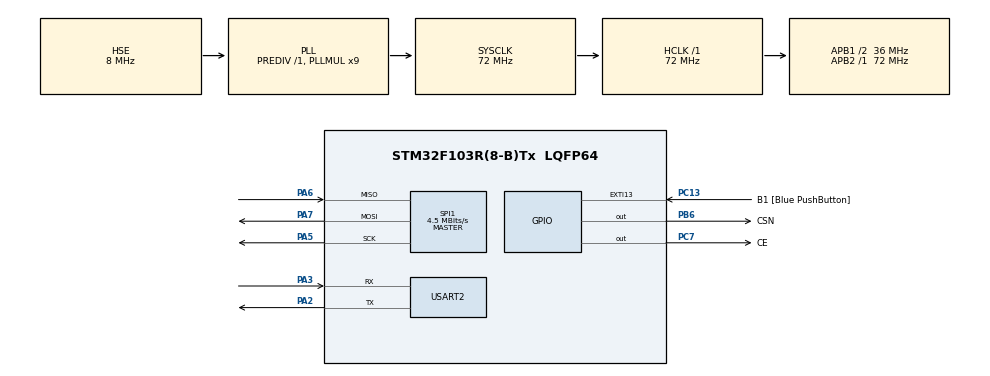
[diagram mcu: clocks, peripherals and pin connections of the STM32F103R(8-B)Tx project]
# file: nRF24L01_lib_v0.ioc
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Mcu.Family=STM32F1
Mcu.Name=STM32F103R(8-B)Tx
Mcu.Package=LQFP64
NVIC.EXTI15_10_IRQn=true\:0\:0\:false\:false\:true\:true\:true
NVIC.PriorityGroup=NVIC_PRIORITYGROUP_4
PA13.GPIO_Label=TMS
PA13.Mode=Serial_Wire
PA13.Signal=SYS_JTMS-SWDIO
PA14.GPIO_Label=TCK
PA14.Mode=Serial_Wire
PA14.Signal=SYS_JTCK-SWCLK
PA2.Mode=Asynchronous
PA2.Signal=USART2_TX
PA3.Mode=Asynchronous
PA3.Signal=USART2_RX
PA5.Mode=Full_Duplex_Master
PA5.Signal=SPI1_SCK
PA6.Mode=Full_Duplex_Master
PA6.Signal=SPI1_MISO
PA7.Mode=Full_Duplex_Master
PA7.Signal=SPI1_MOSI
PB3.GPIO_Label=SWO
PB3.Signal=SYS_JTDO-TRACESWO
PB6.GPIO_Label=CSN
PB6.Signal=GPIO_Output
PC13-TAMPER-RTC.GPIO_Label=B1 [Blue PushButton]
PC13-TAMPER-RTC.GPIO_PuPd=GPIO_NOPULL
PC13-TAMPER-RTC.Signal=GPXTI13
PC14-OSC32_IN.Mode=LSE-External-Oscillator
PC14-OSC32_IN.Signal=RCC_OSC32_IN
PC15-OSC32_OUT.Mode=LSE-External-Oscillator
PC15-OSC32_OUT.Signal=RCC_OSC32_OUT
PC7.GPIO_Label=CE
PC7.Signal=GPIO_Output
PD0-OSC_IN.Mode=HSE-External-Clock-Source
PD0-OSC_IN.Signal=RCC_OSC_IN
PD1-OSC_OUT.Mode=HSE-External-Clock-Source
PD1-OSC_OUT.Signal=RCC_OSC_OUT
ProjectManager.HeapSize=0x200
ProjectManager.StackSize=0x400
ProjectManager.TargetToolchain=STM32CubeIDE
RCC.AHBFreq_Value=72000000
RCC.APB1CLKDivider=RCC_HCLK_DIV2
RCC.APB1Freq_Value=36000000
RCC.APB1TimFreq_Value=72000000
RCC.APB2Freq_Value=72000000
RCC.APB2TimFreq_Value=72000000
RCC.HCLKFreq_Value=72000000
RCC.PLLMUL=RCC_PLL_MUL9
RCC.PLLSourceVirtual=RCC_PLLSOURCE_HSE
RCC.RTCClockSelection=RCC_RTCCLKSOURCE_LSE
RCC.SYSCLKFreq_VALUE=72000000
RCC.SYSCLKSource=RCC_SYSCLKSOURCE_PLLCLK
RCC.USBFreq_Value=72000000
SPI1.BaudRatePrescaler=SPI_BAUDRATEPRESCALER_16
SPI1.CalculateBaudRate=4.5 MBits/s
SPI1.Direction=SPI_DIRECTION_2LINES
SPI1.Mode=SPI_MODE_MASTER
SPI1.VirtualType=VM_MASTER
TIM1.AutoReloadPreload=TIM_AUTORELOAD_PRELOAD_ENABLE
TIM1.Period=0xFFFE
TIM1.Prescaler=71
USART2.VirtualMode=VM_ASYNC
VP_TIM1_VS_ClockSourceINT.Mode=Internal
board=NUCLEO-F103RB

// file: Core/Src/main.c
/* USER CODE BEGIN Header */
/**
 ******************************************************************************
 * @file           : main.c
 * @brief          : Main program body
 ******************************************************************************
 * @attention
 *
 * <h2><center>&copy; Copyright (c) 2020 STMicroelectronics.
 * All rights reserved.</center></h2>
 *
 * This software component is licensed by ST under BSD 3-Clause license,
 * the "License"; You may not use this file except in compliance with the
 * License. You may obtain a copy of the License at:
 *                        opensource.org/licenses/BSD-3-Clause
 *
 ******************************************************************************
 */
/* USER CODE END Header */

#include "main.h"
#include "spi.h"
#include "tim.h"
#include "usart.h"
#include "gpio.h"
/* USER CODE BEGIN Includes */
#include <string.h>
#include <stdio.h>
#include "nRF24L01.h"
/* USER CODE END Includes */

/* USER CODE BEGIN PD */
#define TEST_CONFIG 1
#define TEST_STATIC_LENGTH 1
#define TEST_DYNAMIC_LENGTH 1
#define	TEST_ACK_PAYLOAD 1

#define TEST_RECEIVE 1

#define TAB_SIZE 5
#define BUF_SIZE 32
/* USER CODE END PD */

/* USER CODE BEGIN PV */
uint8_t counter = 0;
uint8_t regTmp = 0;
uint8_t tmp = 0;
uint8_t j;

uint8_t rxFifoStatus = 0;
uint8_t txFifoStatus = 0;

uint8_t TransmitAddress[TAB_SIZE] = { 'A', 'B', 'A', 'B', 'A' };
uint8_t ReceiveAddress[TAB_SIZE] = { 'A', 'B', 'A', 'B', 'A' };

uint8_t ReceiveData[BUF_SIZE];
uint8_t TransmitData[BUF_SIZE];

const uint8_t pipe0 = 0;

#if TEST_DYNAMIC_LENGTH
static uint8_t rxPayloadWidthPipe0 = 0;
#endif

#if TEST_ACK_PAYLOAD
static uint8_t txPayloadWidthPipe0 = 0;
#endif

/* USER CODE END PV */

void SystemClock_Config(void);

/* USER CODE BEGIN 0 */
void sendString(char *str, UART_HandleTypeDef *husart);
/* USER CODE END 0 */

int main(void)
{

  /* MCU Configuration--------------------------------------------------------*/

  /* Reset of all peripherals, Initializes the Flash interface and the Systick. */
  HAL_Init();

  /* Configure the system clock */
  SystemClock_Config();

  /* Initialize all configured peripherals */
  MX_GPIO_Init();
  MX_SPI1_Init();
  MX_TIM1_Init();
  MX_USART2_UART_Init();
  /* USER CODE BEGIN 2 */
	HAL_TIM_Base_Start(&htim1);
  /* USER CODE END 2 */
  /* Infinite loop */
  /* USER CODE BEGIN WHILE */
#if  TEST_CONFIG
	/* 0. Create pointer and init structure. */
	sendString("nRF24L01+ struct init\r\n", &huart2);
	nrfStruct_t *testStruct;						// create pointer to struct
	testStruct = nRF_Init(&hspi1, &htim1, CSN_GPIO_Port, CSN_Pin, CE_GPIO_Port,
	CE_Pin);	// create struct
	sendString("nRF24L01+ struct init done\r\nStart init config\r\n", &huart2);
	/* 1.1  Set role as RX */
	modeRX(testStruct);
	/* 1.2 Enable CRC and set coding */
	enableCRC(testStruct);
	setCRC(testStruct, CRC_16_bits);
	/* 1.3 Enable/disable interrupts */
	enableRXinterrupt(testStruct);
	enableTXinterrupt(testStruct);
	/* 2. Set ACK for RX pipe  */
	enableAutoAckPipe(testStruct, pipe0);
	/* 3. Set RX pipe */
	enableRxAddr(testStruct, pipe0);
	/* 4. Set RX/TX address width */
	setAddrWidth(testStruct, longWidth);
	/* 5. Set ARD and ARC */
	setAutoRetrCount(testStruct, 4);
	setAutoRetrDelay(testStruct, 5); //
	/* 6. Set RF channel */
	setChannel(testStruct, 2);
	/* 7. Set RF power and Data Rate */
	setRFpower(testStruct, RF_PWR_6dBm);
	setDataRate(testStruct, RF_DataRate_250);
	/* 8 Set RX address */
	setReceivePipeAddress(testStruct, pipe0, ReceiveAddress,
			sizeof(ReceiveAddress));
	/* 9. Set TX address */
	setTransmitPipeAddress(testStruct, TransmitAddress,
			sizeof(TransmitAddress));
#if TEST_STATIC_LENGTH
	setRxPayloadWidth(testStruct, pipe0, BUF_SIZE);
	sendString("nRF24L01+ init done\r\n", &huart2);
#endif
#if TEST_DYNAMIC_LENGTH
	enableDynamicPayloadLength(testStruct);
	enableDynamicPayloadLengthPipe(testStruct, pipe0);
#endif
#if TEST_ACK_PAYLOAD
	enableAckPayload(testStruct);
	writeTxPayloadAck(testStruct, TransmitData, sizeof(TransmitData));
#endif
#endif

	while (1) {
#if TEST_DYNAMIC_LENGTH
		HAL_Delay(0);
		if (checkReceivedPayload(testStruct, pipe0) == 1) {
			rxPayloadWidthPipe0 = readDynamicPayloadWidth(testStruct);
			/*
			rxFifoStatus = getRX_DR(testStruct);
			sendString("\r\nRX_DR BEFORE read: ", &huart2);
			tmp = rxFifoStatus + 48;
			HAL_UART_Transmit(&huart2, &tmp, 1, 10);
			 */
			readRxPayload(testStruct, ReceiveData, rxPayloadWidthPipe0);

			sendString("\r\nPayload read: \r\n", &huart2);
			sendString((char*) ReceiveData, &huart2);
			/*
			rxFifoStatus = getRX_DR(testStruct);
			sendString(" \r\nRX_DR AFTER read: ", &huart2);
			tmp = rxFifoStatus + 48;
			HAL_UART_Transmit(&huart2, &tmp, 1, 10);
			 sendString("\r\n", &huart2);
			 */
#if TEST_ACK_PAYLOAD
			/* prepare data to send */
			counter++;
			if (counter == 32)
				counter = 0;

			for (j = 0; j < BUF_SIZE; j++) {
				ReceiveData[j] = 0;
			}

			for (j = 0; j < BUF_SIZE; j++) {
				TransmitData[j] = 0;
			}
			for (j = 0; j < counter; j++) {
				TransmitData[j] = ('A' + j);
			}

			//		if (getStatusFullTxFIFO(testStruct))/* flush TX fifo if it's full */
				flushTx(testStruct);
			writeTxPayloadAck(testStruct, TransmitData, counter); //write data to send
			sendString("\r\nWrote ACK payload. \r\n", &huart2);
			clearRX_DR(testStruct);
			clearTX_DS(testStruct);
#endif
		}
#endif

    /* USER CODE END WHILE */

    /* USER CODE BEGIN 3 */
	}
	/* End of main() */
  /* USER CODE END 3 */
}

void SystemClock_Config(void)
{
  RCC_OscInitTypeDef RCC_OscInitStruct = {0};
  RCC_ClkInitTypeDef RCC_ClkInitStruct = {0};

  /** Initializes the CPU, AHB and APB busses clocks
  */
  RCC_OscInitStruct.OscillatorType = RCC_OSCILLATORTYPE_HSE;
  RCC_OscInitStruct.HSEState = RCC_HSE_BYPASS;
  RCC_OscInitStruct.HSEPredivValue = RCC_HSE_PREDIV_DIV1;
  RCC_OscInitStruct.HSIState = RCC_HSI_ON;
  RCC_OscInitStruct.PLL.PLLState = RCC_PLL_ON;
  RCC_OscInitStruct.PLL.PLLSource = RCC_PLLSOURCE_HSE;
  RCC_OscInitStruct.PLL.PLLMUL = RCC_PLL_MUL9;
  if (HAL_RCC_OscConfig(&RCC_OscInitStruct) != HAL_OK)
  {
    Error_Handler();
  }
  /** Initializes the CPU, AHB and APB busses clocks
  */
  RCC_ClkInitStruct.ClockType = RCC_CLOCKTYPE_HCLK|RCC_CLOCKTYPE_SYSCLK
                              |RCC_CLOCKTYPE_PCLK1|RCC_CLOCKTYPE_PCLK2;
  RCC_ClkInitStruct.SYSCLKSource = RCC_SYSCLKSOURCE_PLLCLK;
  RCC_ClkInitStruct.AHBCLKDivider = RCC_SYSCLK_DIV1;
  RCC_ClkInitStruct.APB1CLKDivider = RCC_HCLK_DIV2;
  RCC_ClkInitStruct.APB2CLKDivider = RCC_HCLK_DIV1;

  if (HAL_RCC_ClockConfig(&RCC_ClkInitStruct, FLASH_LATENCY_2) != HAL_OK)
  {
    Error_Handler();
  }
}

/* USER CODE BEGIN 4 */
void sendString(char *str, UART_HandleTypeDef *husart) {
	HAL_UART_Transmit(husart, (uint8_t*) str, strlen(str),
			1000);
}

/* USER CODE END 4 */

void Error_Handler(void)
{
}

/************************ (C) COPYRIGHT STMicroelectronics *****END OF FILE****/
